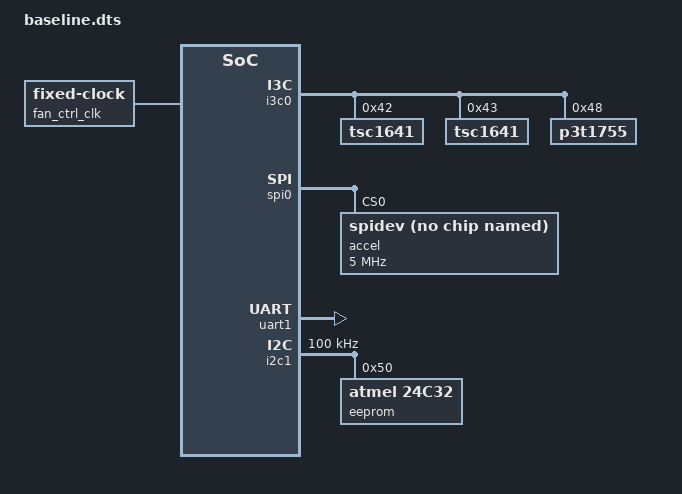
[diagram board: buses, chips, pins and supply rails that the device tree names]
// SPDX-License-Identifier: GPL-2.0-only
/*
 * Copyright (C) 2025, Altera Corporation
 */
/dts-v1/;
#include "socfpga_agilex3_socdk.dts"


/ {

    /*
     * Fixed 100 MHz clock fed to the ADI AXI fan controller.
     * The kernel driver uses clk_get_rate() to compute PWM period and RPM.
     * Must match CLK_FREQUENCY = 100_000_000 hard-coded in axi_fan_control.v.
     */
    fan_ctrl_clk: fan-ctrl-clk {
        compatible = "fixed-clock";
        #clock-cells = <0>;
        clock-frequency = <100000000>;
    };

    soc@0 {

        /*
         * ADI AXI fan controller (real IP from Shi Lin's branch).
         *
         * Address: LWH2F base 0x20000000 + offset 0x0 = 0x20000000
         *   Derived from fabric_subsys.qsys address map where fan_control.s_axi
         *   starts at offset 0x0, and fabric_subsys base = 0x20010060 - 0x10060.
         *
         * IRQ: fabric_subsys.fan_irq -> u_shell_subsys.f2h_irq0_in -> GIC SPI 18.
         *   Wired inside baseline_top.qsys; confirmed via connection XML.
         *
         * temp_in[9:0]: Currently tied to 0 in baseline.sv (placeholder).
         *   With temp_in=0 the IP sets pwm_width_req=0 (0% duty cycle).
         *   A future PIO IP will allow HPS to drive this for automatic thermal
         *   control.  For now, PWM can be overridden via devmem writes to the
         *   PWM_WIDTH register (0x20000084) for one FSM cycle at a time.
         *
         * devmem test:
         *   devmem 0x20000000 32   # read VERSION  -> should return 0x00010061
         *   devmem 0x2000000C 32   # read MAGIC    -> should return 0x46414E43
         *   devmem 0x200000C8 32   # read TEMPERATURE (sysmone_temp register)
         */
        axi_fan_control: axi-fan-control@20000000 {
            compatible = "adi,axi-fan-control-1.00.a";
            reg = <0x20000000 0x10000>;
            clocks = <&fan_ctrl_clk>;
            interrupt-parent = <&intc>;
            interrupts = <GIC_SPI 18 IRQ_TYPE_LEVEL_HIGH>;
            pulses-per-revolution = <2>;
        };
    };
};

/*
 * Step 1 / Step 4 — MikroE Click sensors on the Pi 2 Click Shield, on HPS I3C0
 * (i3c@10da0000). Per baseline.qsf the Pi-header sensor SDA/SCL balls
 * (AJ24/AJ23) are wired to the HPS I3C controller (i3c_sda/i3c_scl), not a
 * DesignWare I2C controller. Both Click parts (Thermo 10 / P3T1755 and
 * Current 12 / TSC1641) are dual I2C/I3C devices and are used as native I3C on
 * this bus. See the &i3c0 node below for the per-part status and why legacy-I2C
 * does not work on this controller.
 *
 * The altera-sensor-board shunts are 0.1 ohm (100000 uOhm) on both the VH and
 * VFAN rails (schematic R1/R2). The tsc1641 driver defaults to 1000 uOhm, so
 * each I3C tsc1641 binding must set shunt-resistor-micro-ohms = <100000> or
 * current / power read ~100x high.
 */
&i3c0 {
    status = "okay";
    #address-cells = <3>;
    #size-cells = <0>;

    /*
     * Bus timing — slow the open-drain / DAA phase for a marginal bus. The
     * SDA pull-up here is the FPGA's weak / emulated pull-up (the board's
     * dedicated I3C_PU resistor is left disabled in the bitstream), so the
     * open-drain rise is slow. i2c-scl-hz sets the open-drain (legacy/DAA)
     * clock — the phase where address assignment happens and where a slow
     * SDA rise makes devices miss enumeration; i3c-scl-hz sets the SDR
     * push-pull clock. Lowering both widens the bit period so SDA settles
     * before SCL samples. Conservative values for bring-up.
     */
    i2c-scl-hz = <100000>;
    i3c-scl-hz = <2000000>;

    /*
     * Both Click parts are dual I2C/I3C devices, used here as NATIVE I3C.
     * Legacy-I2C on this bus does NOT work: the Synopsys DesignWare I3C master
     * cannot mix legacy-I2C and native-I3C devices on the same bus, so once an
     * I3C device has enumerated any legacy-I2C transfer is rejected by the
     * controller with -EINVAL (dw_i3c_master_get_addr_pos: address not in the
     * device table). So neither part is declared as a legacy-I2C child.
     *
     * Thermo 10 (NXP P3T1755) self-enumerates via DAA (bound by lm75_i3c,
     * e.g. "0-236152a0090") and is surfaced to D-Bus by the p3t1755-temp-bridge
     * daemon (reads its hwmon, publishes the "Board_Temp" ExternalSensor for
     * Redfish / phosphor-pid-control). It needs no node here: lm75_i3c carries
     * no per-device DT property we have to set.
     */

    /*
     * Altera sensor board carries TWO ST TSC1641 16-bit power monitors, one per
     * rail (see altera-sensor-board schematic). They are matched by the tsc1641
     * i3c driver on their MIPI PID (manuf 0x0104 ST, part 0x020A); the static I2C
     * address is set by the ADDR (A1/A0) strap.
     *   reg = <static_addr  PID[47:32]  PID[31:0]>
     * Each node passes shunt-resistor-micro-ohms = 100000 (the 0.1 ohm R1/R2
     * shunts); the driver otherwise defaults to 1 mOhm and current / power read
     * ~100x high. The tsc1641-current-bridge daemon tells the two apart by the
     * I3C address embedded in the sysfs device path and publishes Heater_* and
     * Fan_* sensors.
     *
     * assigned-address = static addr -> the i3c core pre-assigns the dynamic
     * address with SETDASA at bus init (drivers/i3c/master.c: assigned-address ->
     * init_dyn_addr -> i3c_master_early_i3c_dev_add -> i3c_master_setdasa_locked),
     * instead of leaving the part to ENTDAA. This is a deliberate workaround for a
     * sensor-board signal-integrity issue: during ENTDAA the TSC1641 must drive
     * its 48-bit PID in open-drain, and on this branch (10K pull-ups sit at the
     * P3T1755, long stub to the TSC1641s) those target-driven rising edges are
     * marginal, so the controller misreads the PID and the part is not detected
     * unless a scope probe is attached. SETDASA has the controller drive the
     * static address while the TSC1641 only has to ACK (pull SDA low), after which
     * it switches to push-pull -- avoiding the flaky target-driven open-drain DAA.
     * The P3T1755 has no assigned-address and still enumerates via ENTDAA (it sits
     * right at the pull-ups and is reliable). See the TSC1641 datasheet (DS14338)
     * sec 5.2.1/5.2.3 and Table 11 (SETDASA) for the static-addr/PID and CCC support.
     */

    /* U3 — VH (heater) rail, ADDR strap 1000010 = static 0x42 -> 0-208020a2001 */
    tsc1641@42,208020a2001 {
        reg = <0x42 0x0208 0x020a2001>;
        assigned-address = <0x42>;	/* force SETDASA, skip ENTDAA */
        shunt-resistor-micro-ohms = <100000>;
    };

    /* U8 — VFAN (fan) rail, ADDR strap 1000011 = static 0x43 -> 0-208020a3001 */
    tsc1641@43,208020a3001 {
        reg = <0x43 0x0208 0x020a3001>;
        assigned-address = <0x43>;	/* force SETDASA, skip ENTDAA */
        shunt-resistor-micro-ohms = <100000>;
    };

    /*
     * TEST (TEMPORARY) — prove this kernel honors assigned-address / SETDASA,
     * using the single P3T1755 (which normally enumerates via ENTDAA). With
     * CONFIG_DYNAMIC_DEBUG=y, on the next boot run i3c-reinit and read dmesg:
     *   - SETDASA CCC to 0x48 + sensor appears  => kernel honors it, addr OK.
     *   - SETDASA NACK                          => honors it; fix the static
     *                                              addr (Thermo 10 ADDR strap,
     *                                              P3T1755 range 0x48-0x4F).
     *   - no SETDASA, device via ENTDAA         => kernel IGNORES assigned-address
     *                                              (the real blocker to escalate).
     * 0x48 is the P3T1755 default; confirm against the Thermo 10 datasheet/strap.
     * lm75_i3c still binds by PID, so Board_Temp keeps working either way.
     * REMOVE this node once the assigned-address path is validated.
     */
    p3t1755@48,236152a0090 {
        reg = <0x48 0x0236 0x152a0090>;
        assigned-address = <0x48>;	/* force SETDASA, skip ENTDAA (TEST) */
    };
};

/*
 * Step 5 (D5) — MikroE Accel 23 Click (MIKROE-6664), ST IIS2DULPX 3-axis
 * accelerometer. Unlike the Thermo 10 / Current 12 Click parts (which sit on
 * the I3C0 legacy-I2C bus), the accelerometer is wired to the HPS SPI master.
 * From the GHRD HPS IP (ip/hps_subsys/agilex_hps.ip: SPIM0_PinMuxing = "FPGA",
 * SPIM0_Mode = "Single_slave_selects"; SPIM1 unused) and the Altera sensor-
 * board interface table, SPIM0 is routed through the FPGA fabric to:
 *     ACC_SDA/SDI = AJ22 -> spim0_mosi   (Pi MOSI / GPIO10)
 *     ACC_SA0/SDO = AH20 -> spim0_miso   (Pi MISO / GPIO9)
 *     ACC_SCL/SPC = AJ20 -> spim0_sclk   (Pi SCK  / GPIO11)
 *     ACC_CS#     = AG23 -> spim0_ss0_n  (Pi CE0  / GPIO8)
 *     ACC_INT     = AH23 -> (Pi INT1 / GPIO6) accelerometer interrupt
 * SPIM0 is the DesignWare snps,dw-apb-ssi controller "spi0" at 0x10da4000.
 *
 * There is no in-tree IIS2DULPX kernel driver (the ST IIO driver only exists
 * out-of-tree / in much newer kernels), so we expose the raw SPI slave to
 * userspace via spidev and read it from the iis2dulpx-accel daemon. Modern
 * spidev only binds nodes whose compatible is on its allow-list, so we use the
 * generic "rohm,dh2228fv" entry (present in this kernel's spidev_dt_ids) to get
 * /dev/spidev0.0 without patching the kernel. The "real" part is identified and
 * configured by the daemon (WHO_AM_I = 0x47), not by the DT compatible.
 *
 * IIS2DULPX SPI: 4-wire, up to 10 MHz, SPI mode 3 (CPOL=1, CPHA=1). CS is the
 * controller's hardware SS0 (single-slave-select mode), so reg = <0>.
 */
&spi0 {
    status = "okay";
    #address-cells = <1>;
    #size-cells = <0>;

    /* MikroE Accel 23 Click (ST IIS2DULPX) on SPIM0 chip-select 0, via spidev */
    accel@0 {
        compatible = "rohm,dh2228fv";
        reg = <0>;
        spi-max-frequency = <5000000>;
    };
};

/*
 * Step 5 (D5) — Pi-header UART for the Altera sensor board's QT Py.
 * The upcoming Altera OpenBMC sensor board carries a QT Py MCU that reads the
 * potentiometer/heater and streams telemetry over UART; a userspace UART<->D-Bus
 * bridge on the BMC will surface it (heater PowerWatts/SetpointC, knob).
 *
 * GHRD HPS IP (ip/hps_subsys/agilex_hps.ip): UART0_PinMuxing = "IO" (dedicated
 * HPS console pins -> ttyS0, the boot console), UART1_PinMuxing = "FPGA" -> the
 * controller is routed through the fabric to the Pi-header UART balls:
 *     Host_TX = AF24  (Pi pin 8,  GPIO14/TXD0)
 *     Host_RX = AG24  (Pi pin 10, GPIO15/RXD0)
 * UART1 is the DesignWare snps,dw-apb-uart "uart1" at 0x10c02100. It ships
 * disabled in socfpga_agilex3.dtsi, so enable it here and pin it to ttyS1 via a
 * serial1 alias (ttyS0 stays the console). 3.3 V logic — safe to wire directly
 * to a Raspberry Pi / QT Py UART (TX<->RX crossover + common GND, no 5 V).
 */
/ {
    aliases {
        serial1 = &uart1;
    };
};

&uart1 {
    status = "okay";
};

/*
 * FUTURE (Altera sensor board — replaces the MikroE Pi 2 Click Shield).
 * See docs/altera-sensor-board-schematic.png and NOTES.md "Altera Sensor Board".
 *
 * (1) HAT ID EEPROM — CAT24C32 @ 0x50 on the Pi ID_SD/ID_SC pins. The GHRD
 *     routes these to HPS *I2C1* (ip/hps_subsys/agilex_hps.ip: I2C1_PinMuxing =
 *     "FPGA"; baseline.sv u_id_sda/u_id_sc drive id_sd/id_sc from
 *     hps_i2c1_*). I2C1 = i2c@10c02900. Not populated on the current Pi-shield
 *     setup. Enabled below (also add CONFIG_EEPROM_AT24=y to the kernel
 *     config). entity-manager's fru-device auto-reads a valid IPMI FRU at 0x50
 *     and surfaces the board identity in inventory / Redfish.
 *
 * (2) Two on-board current monitors — ST TSC1641 @ 0x42 (heater, VH rail) and
 *     @ 0x43 (fan, VFAN rail). These need NO DTS change: they sit on the same
 *     I3C0 legacy-I2C bus (i2c-1) as today's Current 12 Click and are a
 *     dbus-sensors/entity-manager change only. Ready-to-paste entity-config.json
 *     entries + the shunt-resistor caveat are in NOTES.md (JSON can't hold
 *     comments, so the staged config lives there).
 */

/* Altera sensor board HAT ID EEPROM (CAT24C32 @ 0x50) on HPS I2C1 (id_sd/id_sc).
 * fru-device reads a valid IPMI FRU here and publishes board inventory. */
&i2c1 {
    status = "okay";
    clock-frequency = <100000>;

    eeprom@50 {
        compatible = "atmel,24c32";
        reg = <0x50>;
        pagesize = <32>;
    };
};
